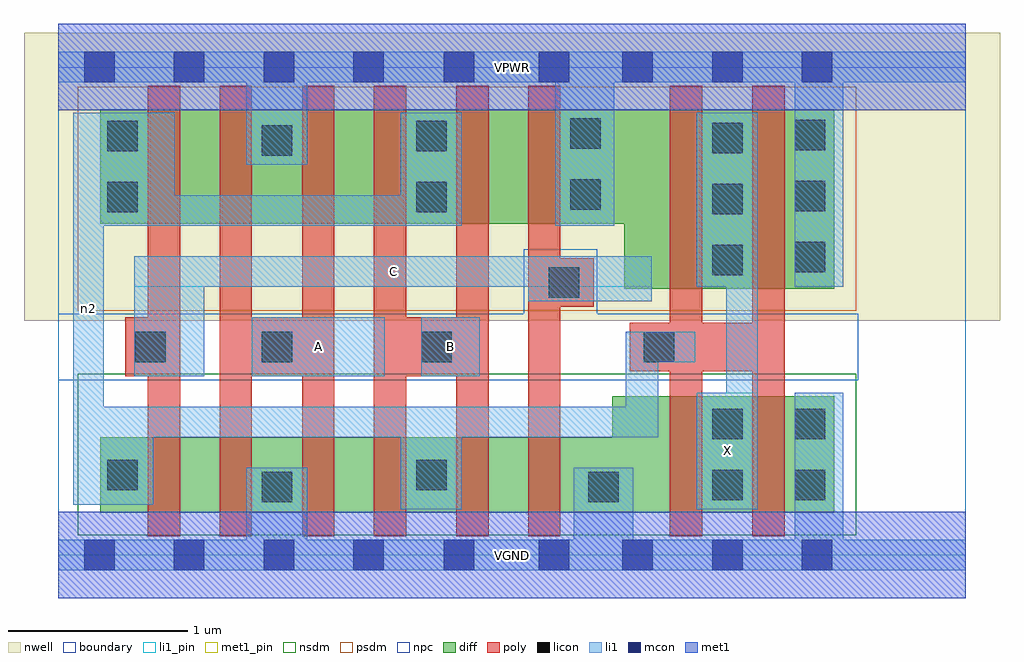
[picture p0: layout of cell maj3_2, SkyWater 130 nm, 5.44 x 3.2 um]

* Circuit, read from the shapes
.subckt maj3_2 A B C VGND VPWR X n2
XM1 n1 C n2 VSUBS sky130_fd_pr__nfet_01v8 w=0.42 l=0.18
XM2 VGND A n1 VSUBS sky130_fd_pr__nfet_01v8 w=0.42 l=0.18
XM3 n3 A VGND VSUBS sky130_fd_pr__nfet_01v8 w=0.42 l=0.18
XM4 n2 B n3 VSUBS sky130_fd_pr__nfet_01v8 w=0.42 l=0.18
XM5 n4 B n2 VSUBS sky130_fd_pr__nfet_01v8 w=0.42 l=0.18
XM6 VGND C n4 VSUBS sky130_fd_pr__nfet_01v8 w=0.42 l=0.18
XM7 X n2 VGND VSUBS sky130_fd_pr__nfet_01v8 w=0.65 l=0.18 m=2
XM8 n5 C n2 n6 sky130_fd_pr__pfet_01v8 w=0.64 l=0.18
XM9 VPWR A n5 n6 sky130_fd_pr__pfet_01v8 w=0.64 l=0.18
XM10 n7 A VPWR n6 sky130_fd_pr__pfet_01v8 w=0.64 l=0.18
XM11 n2 B n7 n6 sky130_fd_pr__pfet_01v8 w=0.64 l=0.18
XM12 n8 B n2 n6 sky130_fd_pr__pfet_01v8 w=0.64 l=0.18
XM13 VPWR C n8 n6 sky130_fd_pr__pfet_01v8 w=0.64 l=0.18
XM14 X n2 VPWR n6 sky130_fd_pr__pfet_01v8 w=1 l=0.18 m=2
.ends

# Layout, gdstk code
import gdstk
lib = gdstk.Library(unit=1e-6, precision=1e-09)
def R(c, l, rs):  # rectangles x0, y0, x1, y1
    for r in rs: c.add(gdstk.rectangle(r[:2], r[2:], *l))
def A(c, l, x, y, w, h, nx, ny, dx, dy):  # array of equal rectangles
    R(c, l, [(x+i*dx, y+j*dy, x+i*dx+w, y+j*dy+h) for i in range(nx) for j in range(ny)])
nwell = (64, 20)
diff = (65, 20)
poly = (66, 20)
licon = (66, 44)
li1_pin = (67, 16)
li1 = (67, 20)
mcon = (67, 44)
met1_pin = (68, 16)
met1 = (68, 20)
nsdm = (93, 44)
psdm = (94, 20)
npc = (95, 20)
boundary = (235, 4)

maj3_2 = lib.new_cell('maj3_2')
R(maj3_2, nwell, [(-0.19,1.305,5.25,2.91), (0,1.305,5.06,2.91)])
R(maj3_2, diff, [(0.235,0.235,4.325,0.655), (3.09,0.235,4.325,0.885), (3.155,1.485,4.325,2.485), (0.235,1.845,4.325,2.485)])
R(maj3_2, poly, [(0.5,0.105,0.68,2.615), (0.9,0.105,1.08,2.615), (1.36,0.105,1.54,2.615), (1.76,0.105,1.94,2.615), (2.22,0.105,2.4,2.615), (2.62,0.105,2.8,2.615), (3.41,0.105,3.59,2.615), (3.87,0.105,4.05,2.615), (0.375,0.995,0.68,1.325), (0.9,0.995,1.54,1.325), (1.76,0.995,2.4,1.325), (3.185,1.025,4.05,1.295), (2.62,1.385,2.985,1.655)])
A(maj3_2, licon, 3.645, 1.56, 0.17, 0.17, 1, 3, 0, 0.34)
A(maj3_2, licon, 4.105, 1.575, 0.17, 0.17, 1, 3, 0, 0.34)
R(maj3_2, licon, [(1.135,0.295,1.305,0.465), (2.955,0.295,3.125,0.465), (3.645,0.305,3.815,0.475), (4.105,0.305,4.275,0.475), (0.275,0.36,0.445,0.53), (1.995,0.36,2.165,0.53), (3.645,0.645,3.815,0.815), (4.105,0.645,4.275,0.815), (0.43,1.075,0.6,1.245), (1.135,1.075,1.305,1.245), (2.025,1.075,2.195,1.245), (3.265,1.075,3.435,1.245), (2.735,1.435,2.905,1.605), (0.275,1.91,0.445,2.08), (1.995,1.91,2.165,2.08), (2.855,1.925,3.025,2.095), (1.135,2.225,1.305,2.395), (0.275,2.25,0.445,2.42), (1.995,2.25,2.165,2.42), (2.855,2.265,3.025,2.435)])
R(maj3_2, li1_pin, [(3.56,0.255,3.9,0.905), (1.08,0.995,1.82,1.325), (2.025,0.995,2.35,1.325), (0.425,1.495,3.31,1.665)])
R(maj3_2, li1, [(0,-0.085,5.06,0.085), (1.05,-0.085,1.39,0.485), (2.875,-0.085,3.205,0.485), (4.105,-0.085,4.375,0.905), (1.91,0.255,2.25,0.825), (3.56,0.255,3.9,0.905), (3.725,0.255,3.9,2.465), (0.085,0.28,0.255,2.465), (0.085,0.28,0.53,0.825), (0.085,0.655,3.345,0.825), (3.165,0.655,3.345,1.245), (0.425,0.995,0.815,1.665), (1.08,0.995,1.82,1.325), (2.025,0.995,2.35,1.325), (3.165,1.075,3.55,1.245), (2.62,1.415,3.31,1.665), (0.425,1.495,3.31,1.665), (3.56,1.495,3.9,2.465), (4.105,1.495,4.375,2.805), (0.085,1.835,2.25,2.005), (0.085,1.835,0.65,2.465), (1.91,1.835,2.25,2.465), (2.77,1.835,3.1,2.805), (1.05,2.175,1.39,2.805), (0,2.635,5.06,2.805)])
A(maj3_2, mcon, 0.145, -0.085, 0.17, 0.17, 4, 2, 0.5, 2.72)
A(maj3_2, mcon, 3.145, -0.085, 0.17, 0.17, 3, 2, 0.5, 2.72)
R(maj3_2, mcon, [(2.15,-0.085,2.32,0.085), (2.68,-0.085,2.85,0.085), (2.15,2.635,2.32,2.805), (2.68,2.635,2.85,2.805)])
R(maj3_2, met1_pin, [(0,-0.24,5.06,0.24), (0,2.48,5.06,2.96)])
R(maj3_2, met1, [(0,-0.24,5.06,0.24), (0,2.48,5.06,2.96)])
R(maj3_2, nsdm, [(0.11,0.11,4.45,1.01)])
R(maj3_2, psdm, [(0.11,1.36,4.45,2.61)])
R(maj3_2, npc, [(0,0.975,4.46,1.345), (2.595,0.975,3.005,1.705)])
R(maj3_2, boundary, [(0,0,5.06,2.72)])
maj3_2.add(gdstk.Label('A', (1.45,1.16), layer=67, texttype=5))
maj3_2.add(gdstk.Label('B', (2.187,1.16), layer=67, texttype=5))
maj3_2.add(gdstk.Label('C', (1.867,1.58), layer=67, texttype=5))
maj3_2.add(gdstk.Label('X', (3.73,0.58), layer=67, texttype=5))
maj3_2.add(gdstk.Label('n2', (0.17,1.372), layer=67, texttype=5))
maj3_2.add(gdstk.Label('VPWR', (2.53,2.72), layer=68, texttype=5))
maj3_2.add(gdstk.Label('VGND', (2.53,0), layer=68, texttype=5))
maj3_2.add(gdstk.Label('A', (1.45,1.16), layer=67, texttype=16))
maj3_2.add(gdstk.Label('B', (2.187,1.16), layer=67, texttype=16))
maj3_2.add(gdstk.Label('C', (1.867,1.58), layer=67, texttype=16))
maj3_2.add(gdstk.Label('X', (3.73,0.58), layer=67, texttype=16))
maj3_2.add(gdstk.Label('VPWR', (2.53,2.72), layer=68, texttype=16))
maj3_2.add(gdstk.Label('VGND', (2.53,0), layer=68, texttype=16))

lib.write_gds('maj3_2.gds')
